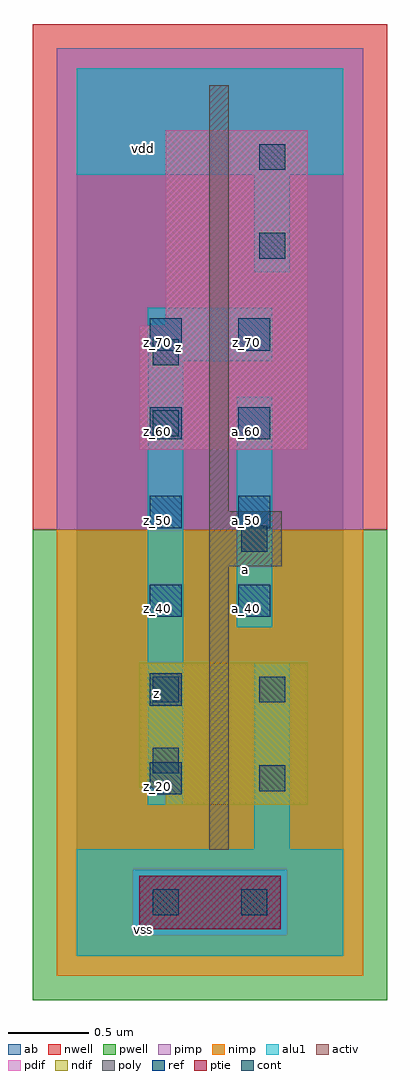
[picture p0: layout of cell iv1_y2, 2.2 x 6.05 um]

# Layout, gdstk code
import gdstk
lib = gdstk.Library(unit=1e-6, precision=2.5e-09)
def R(c, l, rs):  # rectangles x0, y0, x1, y1
    for r in rs: c.add(gdstk.rectangle(r[:2], r[2:], *l))
def A(c, l, x, y, w, h, nx, ny, dx, dy):  # array of equal rectangles
    R(c, l, [(x+i*dx, y+j*dy, x+i*dx+w, y+j*dy+h) for i in range(nx) for j in range(ny)])
ndif = (3, 0)
pdif = (4, 0)
ptie = (6, 0)
ref = (24, 0)
cont = (25, 0)
pwell = (41, 0)
nwell = (42, 0)
activ = (43, 0)
pimp = (44, 0)
nimp = (45, 0)
poly = (46, 0)
alu1 = (49, 0)
ab = (63, 0)

iv1_y2 = lib.new_cell('iv1_y2')
R(iv1_y2, ndif, [(0.55,0.935,1.43,1.045), (0.385,1.045,1.43,1.815)])
R(iv1_y2, pdif, [(0.385,3.135,1.43,3.905), (0.55,3.905,1.43,5.115)])
R(iv1_y2, ptie, [(0.385,0.165,1.265,0.495)])
A(iv1_y2, ref, 0.45, 1, 0.2, 0.2, 1, 6, 0, 0.55)
A(iv1_y2, ref, 1, 2.1, 0.2, 0.2, 1, 4, 0, 0.55)
R(iv1_y2, cont, [(0.47,0.25,0.63,0.41), (1.02,0.25,1.18,0.41), (1.13,1.02,1.29,1.18), (0.47,1.13,0.63,1.29), (0.47,1.57,0.63,1.73), (1.13,1.57,1.29,1.73), (1.02,2.505,1.18,2.665), (0.47,3.22,0.63,3.38), (0.47,3.66,0.63,3.82), (1.13,4.32,1.29,4.48), (1.13,4.87,1.29,5.03)])
R(iv1_y2, pwell, [(-0.275,-0.275,1.925,2.64)])
R(iv1_y2, nwell, [(-0.275,2.64,1.925,5.775)])
R(iv1_y2, activ, [(0.385,0.165,1.265,0.495), (0.55,0.935,1.43,1.045), (0.385,1.045,1.43,1.815), (0.385,3.135,1.43,3.905), (0.55,3.905,1.43,5.115)])
R(iv1_y2, pimp, [(0.345,0.125,1.305,0.535), (-0.125,2.64,1.775,5.625)])
R(iv1_y2, nimp, [(-0.125,-0.125,1.775,0.125), (-0.125,0.125,0.345,0.535), (1.305,0.125,1.775,0.535), (-0.125,0.535,1.775,2.64)])
R(iv1_y2, poly, [(0.82,0.655,0.94,2.415), (0.82,2.415,1.27,2.755), (0.82,2.755,0.94,5.395)])
R(iv1_y2, alu1, [(0,0,1.65,0.66), (1.1,0.66,1.32,1.815), (0.44,0.935,0.66,3.685), (0.99,2.035,1.21,3.465), (0.44,3.685,1.21,4.015), (1.1,4.235,1.32,4.84), (0,4.84,1.65,5.5)])
R(iv1_y2, ab, [(0,0,1.65,5.5)])
iv1_y2.add(gdstk.Label('vss', (0.4125,0.165), layer=49, texttype=0))
iv1_y2.add(gdstk.Label('a', (1.045,2.3925), layer=49, texttype=0))
iv1_y2.add(gdstk.Label('z', (0.495,1.6225), layer=49, texttype=0))
iv1_y2.add(gdstk.Label('z', (0.6325,3.7675), layer=49, texttype=0))
iv1_y2.add(gdstk.Label('vdd', (0.4125,5.005), layer=49, texttype=0))
iv1_y2.add(gdstk.Label('z_70', (1.05,3.8), layer=24, texttype=0))
iv1_y2.add(gdstk.Label('z_30', (0.5,1.6), layer=24, texttype=0))
iv1_y2.add(gdstk.Label('a_40', (1.05,2.15), layer=24, texttype=0))
iv1_y2.add(gdstk.Label('z_70', (0.5,3.8), layer=24, texttype=0))
iv1_y2.add(gdstk.Label('a_60', (1.05,3.25), layer=24, texttype=0))
iv1_y2.add(gdstk.Label('a_50', (1.05,2.7), layer=24, texttype=0))
iv1_y2.add(gdstk.Label('z_60', (0.5,3.25), layer=24, texttype=0))
iv1_y2.add(gdstk.Label('z_40', (0.5,2.15), layer=24, texttype=0))
iv1_y2.add(gdstk.Label('z_50', (0.5,2.7), layer=24, texttype=0))
iv1_y2.add(gdstk.Label('z_20', (0.5,1.05), layer=24, texttype=0))

lib.write_gds('iv1_y2.gds')
